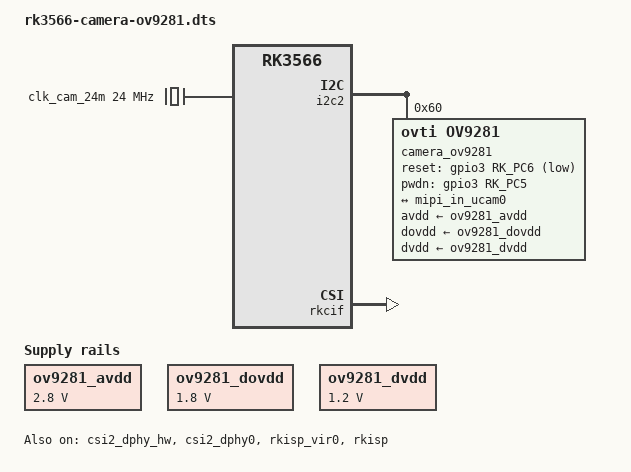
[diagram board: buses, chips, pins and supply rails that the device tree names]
/*
 * Device tree overlay for OV9281 (Global Shutter Camera) on RK3566
 *
 * OmniVision OV9281 - 1MP MIPI CSI-2 global shutter sensor
 * Monochrome sensor ideal for machine vision applications
 * 1280x800 resolution with true global shutter
 *
 * Compatible with Radxa Zero 3W and similar RK3566-based boards
 * Uses I2C2 and CSI2 DPHY0 in full mode (2 lanes)
 *
 * Note: Requires 2-lane CSI-2 module (1-lane modules not supported)
 *
 * Copyright (c) 2024 MYSh LLC
 */
/dts-v1/;
/plugin/;

#include "dt-bindings.h"

/ {
	compatible = "rockchip,rk3566";

	metadata {
		title = "OV9281 Camera (1MP Global Shutter)";
		category = "camera";
		exclusive = "csi2_dphy0";
		description = "Enable OmniVision OV9281 1MP global shutter camera on CSI2 DPHY0";
	};
};

&{/} {
	clk_cam_24m: external-camera-clock-24m {
		status = "okay";
		compatible = "fixed-clock";
		clock-frequency = <24000000>;
		clock-output-names = "clk_cam_24m";
		#clock-cells = <0>;
	};

	ov9281_avdd: ov9281-avdd {
		status = "okay";
		compatible = "regulator-fixed";
		regulator-name = "ov9281_avdd";
		regulator-min-microvolt = <2800000>;
		regulator-max-microvolt = <2800000>;
		regulator-always-on;
		regulator-boot-on;
	};

	ov9281_dovdd: ov9281-dovdd {
		status = "okay";
		compatible = "regulator-fixed";
		regulator-name = "ov9281_dovdd";
		regulator-min-microvolt = <1800000>;
		regulator-max-microvolt = <1800000>;
		regulator-always-on;
		regulator-boot-on;
	};

	ov9281_dvdd: ov9281-dvdd {
		status = "okay";
		compatible = "regulator-fixed";
		regulator-name = "ov9281_dvdd";
		regulator-min-microvolt = <1200000>;
		regulator-max-microvolt = <1200000>;
		regulator-always-on;
		regulator-boot-on;
	};
};

&i2c2 {
	status = "okay";
	pinctrl-names = "default";
	pinctrl-0 = <&i2c2m1_xfer>;
	#address-cells = <1>;
	#size-cells = <0>;

	camera_ov9281: camera-ov9281@60 {
		status = "okay";
		compatible = "ovti,ov9281";
		reg = <0x60>;
		clocks = <&clk_cam_24m>;
		clock-names = "xvclk";

		avdd-supply = <&ov9281_avdd>;
		dovdd-supply = <&ov9281_dovdd>;
		dvdd-supply = <&ov9281_dvdd>;

		reset-gpios = <&gpio3 RK_PC6 GPIO_ACTIVE_LOW>;
		pwdn-gpios = <&gpio3 RK_PC5 GPIO_ACTIVE_HIGH>;

		rockchip,camera-module-index = <0>;
		rockchip,camera-module-facing = "back";
		rockchip,camera-module-name = "ov9281";
		rockchip,camera-module-lens-name = "default";

		port {
			ov9281_out: endpoint {
				remote-endpoint = <&mipi_in_ucam0>;
				data-lanes = <1 2>;
			};
		};
	};
};

&csi2_dphy_hw {
	status = "okay";
};

&csi2_dphy0 {
	status = "okay";

	ports {
		#address-cells = <1>;
		#size-cells = <0>;

		port@0 {
			reg = <0>;
			#address-cells = <1>;
			#size-cells = <0>;

			mipi_in_ucam0: endpoint@1 {
				reg = <1>;
				remote-endpoint = <&ov9281_out>;
				data-lanes = <1 2>;
			};
		};

		port@1 {
			reg = <1>;
			#address-cells = <1>;
			#size-cells = <0>;

			dphy0_out: endpoint@1 {
				reg = <1>;
				remote-endpoint = <&isp0_in>;
			};
		};
	};
};

&rkisp_vir0 {
	status = "okay";

	port {
		#address-cells = <1>;
		#size-cells = <0>;

		isp0_in: endpoint@0 {
			reg = <0>;
			remote-endpoint = <&dphy0_out>;
		};
	};
};

&rkisp {
	status = "okay";
};

&rkisp_mmu {
	status = "okay";
};

&rkcif_mmu {
	status = "okay";
};

&rkcif {
	status = "okay";
};
